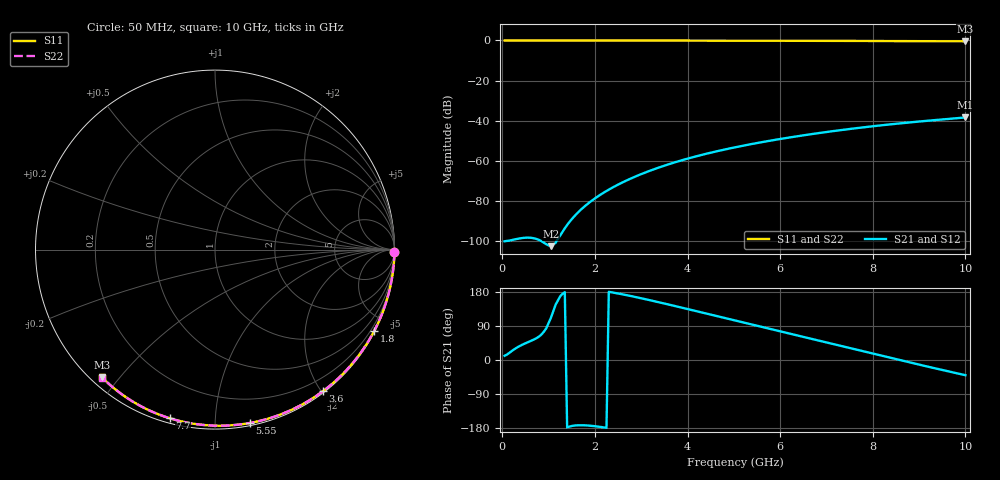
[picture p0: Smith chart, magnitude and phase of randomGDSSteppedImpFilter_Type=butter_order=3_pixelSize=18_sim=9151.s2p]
! freq	dB(S11)	phase(S11)	dB(S12)	phase(S12)
!  dB(S21)	phase(S21)	dB(S22)	phase(S22)
!S-par simulation data
#  GHz  S  DB  R 50
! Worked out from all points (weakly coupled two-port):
!   200 points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, 50 MHz to 10 GHz, reference 50 ohm
!   highest |S21| = -38.36 dB at 10 GHz (marker M1); lowest = -102.5 dB at 1.05 GHz (marker M2)
!   lowest |S11| = -0.4 dB at 10 GHz (marker M3), VSWR 39.20, Z = 1.54 - j22.5 ohm
!   |S11| at or under -10 dB: nowhere
!   |S22| runs from -0.4 to 0.0 dB; largest |S21 - S12| = 0
!   S11 on the Smith chart (normalised r, x): 50 MHz: open; 1.8 GHz: 0.04, -4.18; 3.6 GHz: 0.02, -2.02; 5.55 GHz: 0.02, -1.22; 7.7 GHz: 0.02, -0.77; 10 GHz: 0.03, -0.45
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0.05  -0.00 -0.8  -100.02 11.2  -100.02 11.2  -0.00 -0.7
0.55  -0.01 -8.3  -98.21 46.9  -98.21 46.9  -0.01 -8.3
1.05  -0.02 -15.8  -102.47 111.3  -102.47 111.3  -0.02 -15.8
1.75  -0.03 -26.2  -83.18 -172.3  -83.18 -172.3  -0.03 -26.2
1.8  -0.03 -26.9  -82.20 -172.5  -82.20 -172.5  -0.03 -26.9
1.9  -0.04 -28.4  -80.37 -173.4  -80.37 -173.4  -0.04 -28.4
1.95  -0.04 -29.1  -79.51 -174.0  -79.51 -174.0  -0.04 -29.1
2.25  -0.04 -33.5  -74.97 -179.0  -74.97 -179.0  -0.04 -33.5
2.55  -0.05 -37.8  -71.22 174.4  -71.22 174.4  -0.05 -37.8
2.95  -0.06 -43.5  -67.04 164.3  -67.04 164.3  -0.06 -43.5
3.4  -0.07 -49.9  -63.14 151.9  -63.14 151.9  -0.07 -49.8
3.6  -0.07 -52.7  -61.61 146.2  -61.61 146.2  -0.07 -52.6
3.9  -0.08 -56.8  -59.52 137.5  -59.52 137.5  -0.08 -56.7
4.3  -0.09 -62.2  -57.04 125.7  -57.04 125.7  -0.09 -62.2
5.05  -0.11 -72.2  -53.11 103.5  -53.11 103.5  -0.11 -72.1
5.55  -0.13 -78.7  -50.88 88.8  -50.88 88.8  -0.13 -78.6
6.1  -0.15 -85.6  -48.70 72.7  -48.70 72.7  -0.15 -85.5
6.7  -0.18 -93.0  -46.58 55.1  -46.58 55.1  -0.18 -92.9
7.7  -0.24 -105.1  -43.54 25.7  -43.54 25.7  -0.24 -104.9
8.35  -0.29 -112.6  -41.86 6.6  -41.86 6.6  -0.29 -112.5
9.15  -0.36 -121.8  -40.06 -16.5  -40.06 -16.5  -0.35 -121.7
10  -0.44 -131.4  -38.36 -40.1  -38.36 -40.1  -0.44 -131.3
